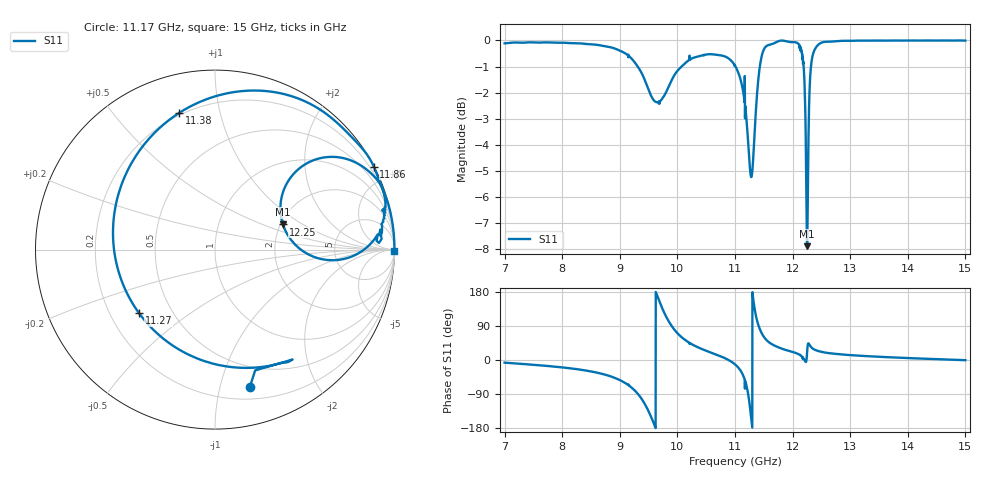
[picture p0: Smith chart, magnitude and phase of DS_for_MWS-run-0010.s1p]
! TOUCHSTONE file generated by CST DESIGN STUDIO
! Date and time: Mon Feb 10 16:52:29 2025
! Project name: C:\Work\MatlabApps\UnitCellType2OptimizationMatlab\CST\unitcell.cst
! Tree item: Tasks\Sweep1\SPara1\S-Parameters
! Header version: 2024
! Port assignment regex: !\s*Touchstone port\s*([0-9]+)\s*=\s*(CST MWS port|CST DES external port|CST DES block port)\s*(.+)\s* \(\"(.*)\"\)(\s*mode\s*([0-9]+))?.*
! Touchstone port assignment:
! Touchstone port 1 = CST DES external port 1 ("")
# GHz S MA R 50
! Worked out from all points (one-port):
!   4001 points, 7 GHz to 15 GHz, reference 50 ohm
!   lowest |S11| = -7.9 dB at 12.25 GHz (marker M1), VSWR 2.35, Z = 103 + j34.5 ohm
!   |S11| at or under -10 dB: nowhere
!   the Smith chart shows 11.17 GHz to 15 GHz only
!   S11 on the Smith chart (normalised r, x): 11.17 GHz: 0.31, -1.24; 11.27 GHz: 0.32, -0.33; 11.38 GHz: 0.19, +0.76; 11.86 GHz: 0.01, +4.07; 12.25 GHz: 2.06, +0.69; 15 GHz: open
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7  0.9875 -7.0
8  0.9902 -19.5
9  0.9562 -53.0
9.376  0.8672 -101.9
9.488  0.8105 -131.7
9.61  0.7642 -174.9
9.796  0.7928 117.0
10  0.8745 70.7
10.402  0.9344 30.4
11  0.8946 -11.5
11.104  0.8358 -29.7
11.172  0.7881 -75.7
11.228  0.6392 -89.7
11.272  0.5518 -140.1
11.32  0.6043 156.5
11.382  0.7879 104.5
11.446  0.9128 76.1
11.548  0.9761 52.4
11.856  0.9983 27.6
12  0.9926 21.3
12.168  0.9407 8.2
12.212  0.7989 -1.5
12.252  0.4035 20.3
12.318  0.8895 34.6
12.48  0.9877 22.3
13  0.9982 12.9
14  0.9998 5.1
15  0.9994 -0.5
